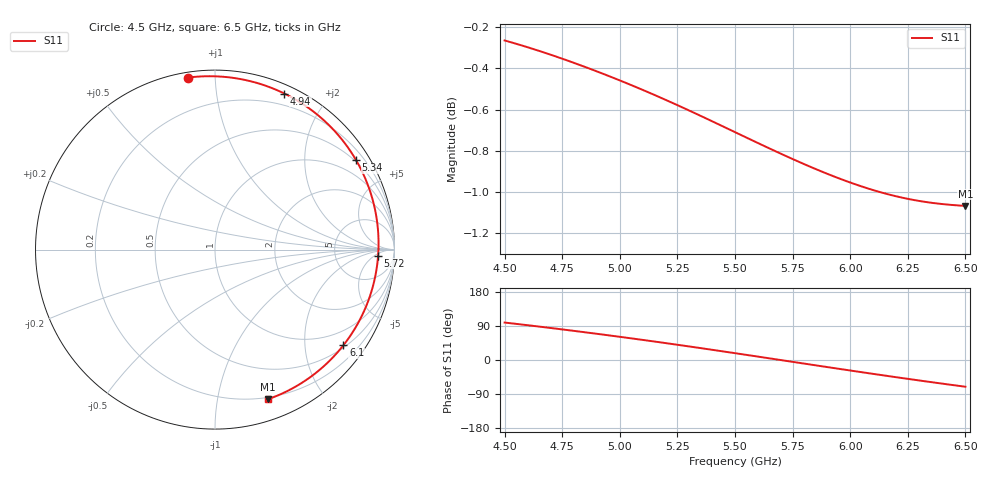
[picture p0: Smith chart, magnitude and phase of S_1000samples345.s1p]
! TOUCHSTONE file generated by CST MICROWAVE STUDIO
! Date and time: Thu Oct 27 20:39:29 2022
! Project name: L.cst
! Parameters = {Di=1.27; Epsilon_r=1.56; InnerDiameter=1.27; Length=2; Lf=10; Lg=60; OuterConductorThickness=0.2921; OuterDiameter=3.6; Wf=3; Wp=41.2; de=1.5; df=6.8; g=0.8; gx=4.25714; gy=4.8378; h=2.34; hf=1.524; px=8.62713; py=9.60855; w=9.7; wx=4.37; wy=4.77075}
! Header version: 2018
! Port assignment regex: !\s*Touchstone port\s*([0-9]+)\s*=\s*(CST MWS port|CST DS port)\s*([0-9]+|Zmin|Zmax)\s*\(\"(.*)\"\)(\s*mode\s*([0-9]+))?.*
! Touchstone port assignment:
! Touchstone port 1 = CST MWS port 1 ("")
# GHz S DB R 50
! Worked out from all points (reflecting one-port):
!   101 points, 4.5 GHz to 6.5 GHz, reference 50 ohm
!   lowest |S11| = -1.1 dB at 6.5 GHz (marker M1), VSWR 16.29, Z = 9.14 - j69.9 ohm
!   phase of S11 starts at 99 deg and turns -169 deg over the sweep
!   S11 on the Smith chart (normalised r, x): 4.5 GHz: 0.03, +0.86; 4.94 GHz: 0.08, +1.54; 5.34 GHz: 0.46, +3.39; 5.72 GHz: 18, -7; 6.1 GHz: 0.56, -2.92; 6.5 GHz: 0.18, -1.40
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4.5  -0.26 98.8
4.58  -0.29 93.2
4.64  -0.31 88.9
4.76  -0.36 80.0
4.86  -0.40 72.3
4.94  -0.43 66.0
5  -0.46 61.2
5.06  -0.49 56.3
5.12  -0.51 51.3
5.18  -0.54 46.2
5.26  -0.58 39.3
5.34  -0.62 32.3
5.42  -0.67 25.2
5.5  -0.71 18.0
5.56  -0.74 12.6
5.62  -0.77 7.1
5.72  -0.83 -2.1
5.76  -0.85 -5.8
5.82  -0.87 -11.3
5.88  -0.90 -16.8
5.94  -0.93 -22.3
6  -0.95 -27.7
6.1  -0.99 -36.7
6.18  -1.02 -43.7
6.26  -1.04 -50.6
6.38  -1.06 -60.7
6.44  -1.06 -65.7
6.5  -1.07 -70.5
